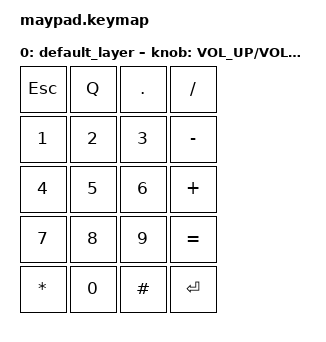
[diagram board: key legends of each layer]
#include <behaviors.dtsi>
#include <dt-bindings/zmk/keys.h>
#include <dt-bindings/zmk/bt.h>

/{
    keymap {
        compatible = "zmk,keymap";

        default_layer {
// --------------------------------------------------------------------------------------------------------------------------------------------------------------------
// |   ESC   |    Q    |    W    |    E    |    R    |    T    |                                          |    Y    |    U    |    I    |    O    |    P    |    \    |
// |   TAB   |    A    |    S    |    D    |    F    |    G    |                                          |    H    |    J    |    K    |    L    |    ;    |    '    |
// |  SHIFT  |    Z    |    X    |    C    |    V    |    B    | CTRL+A  | CTRL+C  |  |  CTRL+V |  CTRL+X |    N    |    M    |    ,    |    .    |    /    |  R CTRL |
//                               |   GUI   |   DEL   | RETURN  |  SPACE  | ESCAPE  |  |  RETURN |  SPACE  |   TAB   |   BSPC  |  R ALT  |
            bindings = <
        &kp ESC     &kp Q   &kp DOT     &kp SLASH
        &kp N1      &kp N2  &kp N3      &kp MINUS
        &kp N4      &kp N5  &kp N6      &kp PLUS
        &kp N7      &kp N8  &kp N9      &kp EQUAL
        &kp STAR    &kp N0  &kp HASH    &kp RET
            >;

            sensor-bindings = <&inc_dec_kp C_VOL_UP C_VOL_DN &inc_dec_kp PG_UP PG_DN>;
        };
    };
};
